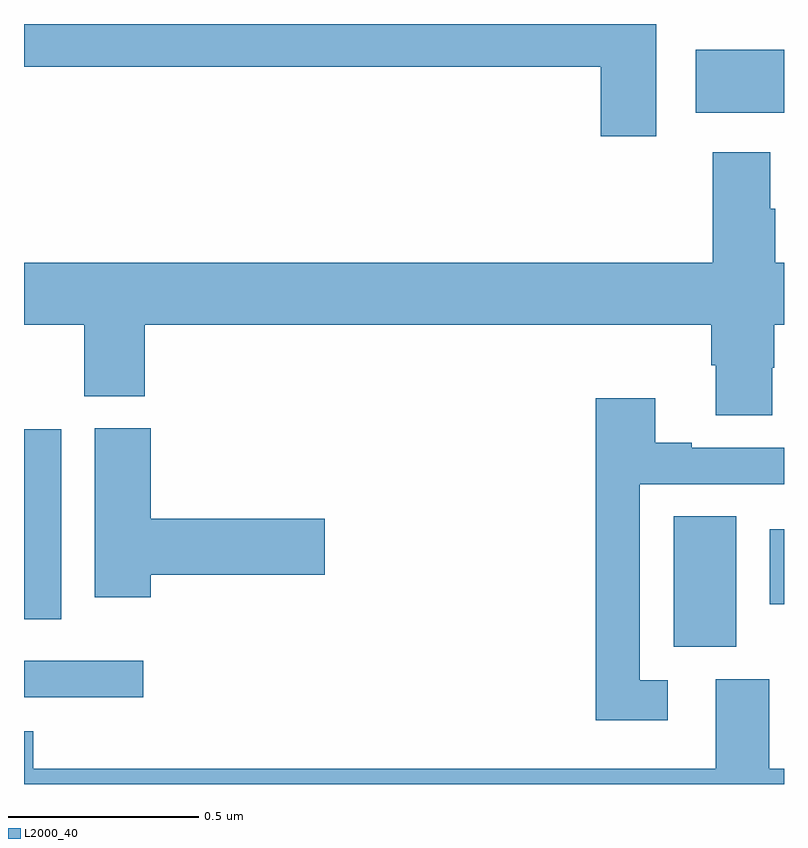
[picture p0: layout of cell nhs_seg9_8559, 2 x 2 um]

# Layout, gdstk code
import gdstk
lib = gdstk.Library(unit=1e-6, precision=1e-09)
def R(c, l, rs):  # rectangles x0, y0, x1, y1
    for r in rs: c.add(gdstk.rectangle(r[:2], r[2:], *l))
def P(c, l, *ps):  # polygons
    for p in ps: c.add(gdstk.Polygon(p, *l))
L2000_40 = (2000, 40)

nhs_seg9_8559 = lib.new_cell('nhs_seg9_8559')
R(nhs_seg9_8559, L2000_40, [(218,1240.728,218.314,1240.824), (219.71,1240.861,219.874,1241.204), (218,1240.934,218.098,1241.434), (219.962,1240.973,220,1241.17), (219.768,1242.266,220,1242.432)])
P(nhs_seg9_8559, L2000_40, [(219.664,1242.5),(218,1242.5),(218,1242.388),(219.518,1242.388),(219.518,1242.204),(219.664,1242.204)],
  [(219.969,1241.595),(219.974,1241.595),(219.974,1241.708),(220,1241.708),(220,1241.872),(219.977,1241.872),(219.977,1242.014),(219.964,1242.014),(219.964,1242.163),(219.812,1242.163),(219.812,1241.872),(218,1241.872),(218,1241.708),(218.158,1241.708),(218.158,1241.521),(218.318,1241.521),(218.318,1241.708),(219.809,1241.708),(219.809,1241.602),(219.821,1241.602),(219.821,1241.47),(219.969,1241.47)],
  [(219.694,1240.773),(219.621,1240.773),(219.621,1241.289),(220,1241.289),(220,1241.385),(219.757,1241.385),(219.757,1241.398),(219.661,1241.398),(219.661,1241.515),(219.505,1241.515),(219.505,1240.668),(219.694,1240.668)],
  [(218.333,1241.051),(218.791,1241.051),(218.791,1241.198),(218.333,1241.198),(218.333,1241.436),(218.186,1241.436),(218.186,1240.992),(218.333,1240.992)],
  [(220,1240.54),(219.961,1240.54),(219.961,1240.776),(219.821,1240.776),(219.821,1240.54),(218.024,1240.54),(218.024,1240.639),(218,1240.639),(218,1240.5),(220,1240.5)])

lib.write_gds('nhs_seg9_8559.gds')
